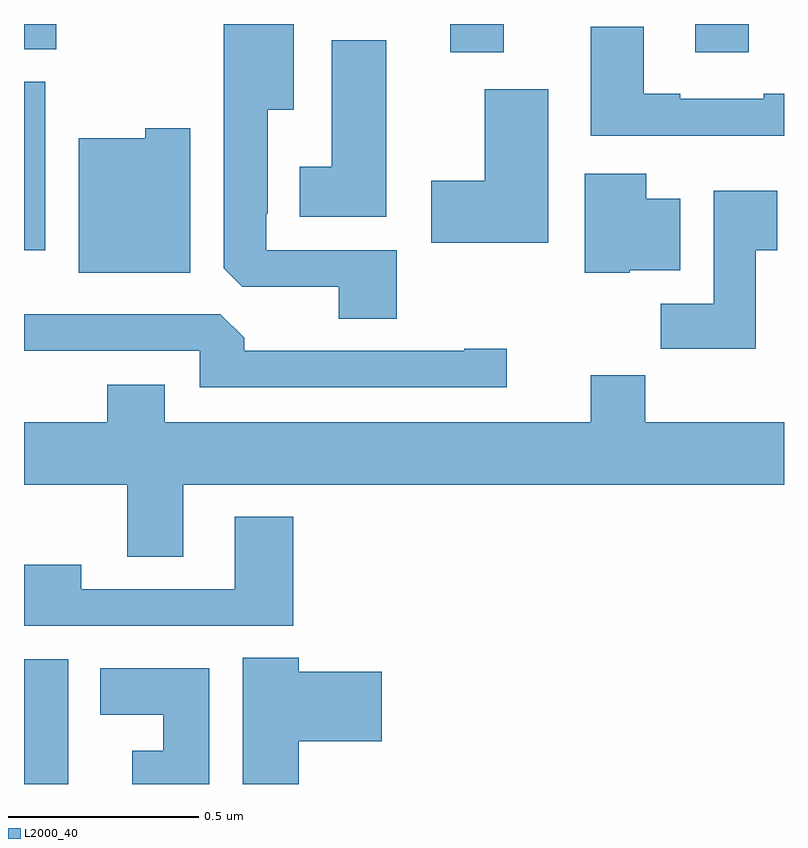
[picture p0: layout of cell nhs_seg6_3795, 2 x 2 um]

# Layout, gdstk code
import gdstk
lib = gdstk.Library(unit=1e-6, precision=1e-09)
def R(c, l, rs):  # rectangles x0, y0, x1, y1
    for r in rs: c.add(gdstk.rectangle(r[:2], r[2:], *l))
def P(c, l, *ps):  # polygons
    for p in ps: c.add(gdstk.Polygon(p, *l))
L2000_40 = (2000, 40)

nhs_seg6_3795 = lib.new_cell('nhs_seg6_3795')
R(nhs_seg6_3795, L2000_40, [(161,994.5,161.116,994.828), (161,995.904,161.056,996.348), (162.122,996.426,162.262,996.5), (162.767,996.426,162.907,996.5), (161,996.433,161.085,996.5)])
P(nhs_seg6_3795, L2000_40, [(161.981,995.904),(161.637,995.904),(161.637,996.001),(161.641,996.001),(161.641,996.275),(161.71,996.275),(161.71,996.5),(161.525,996.5),(161.525,995.857),(161.574,995.808),(161.828,995.808),(161.828,995.725),(161.981,995.725)],
  [(163,996.316),(162.947,996.316),(162.947,996.303),(162.727,996.303),(162.727,996.316),(162.631,996.316),(162.631,996.493),(162.491,996.493),(162.491,996.206),(163,996.206)],
  [(161.953,996.457),(161.81,996.457),(161.81,996.124),(161.726,996.124),(161.726,995.993),(161.953,995.993)],
  [(162.379,996.328),(162.212,996.328),(162.212,996.087),(162.072,996.087),(162.072,995.924),(162.379,995.924)],
  [(161.437,996.226),(161.319,996.226),(161.319,996.199),(161.144,996.199),(161.144,995.846),(161.437,995.846)],
  [(162.594,995.852),(162.727,995.852),(162.727,996.04),(162.637,996.04),(162.637,996.106),(162.476,996.106),(162.476,995.846),(162.594,995.846)],
  [(162.925,995.905),(162.982,995.905),(162.982,996.061),(162.815,996.061),(162.815,995.764),(162.676,995.764),(162.676,995.646),(162.925,995.646)],
  [(162.271,995.645),(162.158,995.645),(162.158,995.64),(161.579,995.64),(161.579,995.674),(161.517,995.736),(161,995.736),(161,995.64),(161.463,995.64),(161.463,995.544),(162.271,995.544)],
  [(161.419,995.288),(163,995.288),(163,995.452),(162.635,995.452),(162.635,995.576),(162.491,995.576),(162.491,995.452),(161.371,995.452),(161.371,995.551),(161.219,995.551),(161.219,995.452),(161,995.452),(161,995.288),(161.272,995.288),(161.272,995.098),(161.419,995.098)],
  [(161.708,995.203),(161.555,995.203),(161.555,995.013),(161.151,995.013),(161.151,995.077),(161,995.077),(161,994.917),(161.708,994.917)],
  [(161.723,994.613),(161.941,994.613),(161.941,994.796),(161.723,994.796),(161.723,994.832),(161.576,994.832),(161.576,994.5),(161.723,994.5)],
  [(161.488,994.804),(161.201,994.804),(161.201,994.682),(161.366,994.682),(161.366,994.588),(161.285,994.588),(161.285,994.5),(161.488,994.5)])

lib.write_gds('nhs_seg6_3795.gds')
